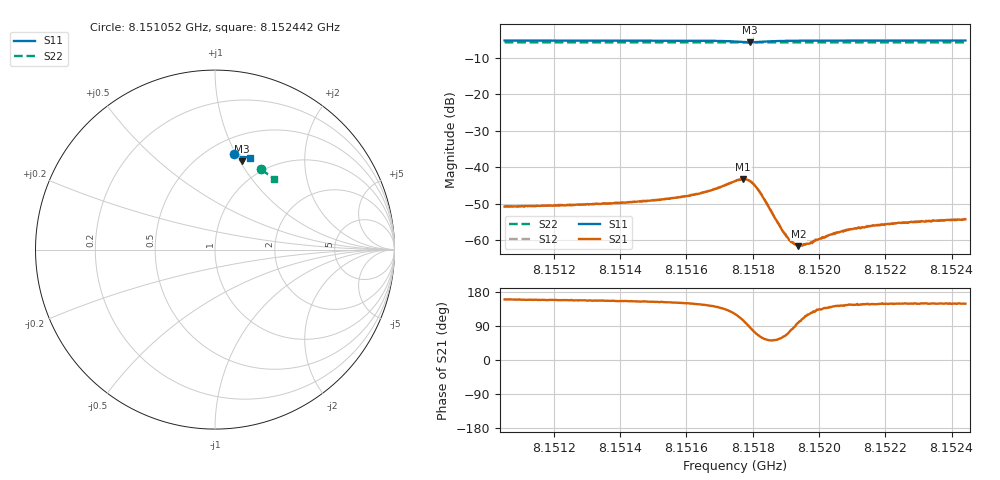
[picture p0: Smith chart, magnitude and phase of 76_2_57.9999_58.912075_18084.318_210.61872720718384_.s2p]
#  HZ  S  RI  R  50.00
! Rohde & Schwarz Vector Network Analyzer
! Rohde-Schwarz,ZNB20-2Port,1311601062101988,3.16
! Created: UTC 3/21/2024, 12:53:42 AM
! freq[Hz]  re:S11  im:S11  re:S21  im:S21  re:S12  im:S12  re:S22  im:S22
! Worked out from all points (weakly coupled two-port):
!   401 points, 8.151052 GHz to 8.152442 GHz, reference 50 ohm
!   highest |S21| = -43.24 dB at 8.151771 GHz (marker M1); lowest = -61.6 dB at 8.151938 GHz (marker M2)
!   lowest |S11| = -5.8 dB at 8.151792 GHz (marker M3), VSWR 3.12, Z = 38 + j50.9 ohm
!   |S11| at or under -10 dB: nowhere
!   |S22| runs from -5.8 to -5.8 dB; largest |S21 - S12| = 0.00014
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8.1510516e9  0.1078 0.5322  -0.00272 0.000999  -0.0027 0.00106  0.255 0.4465
8.1512844e9  0.1247 0.5287  -0.00283 0.00119  -0.00287 0.00121  0.2679 0.4387
8.1514373e9  0.1364 0.5259  -0.00305 0.00142  -0.00302 0.00146  0.2762 0.4332
8.1515172e9  0.1427 0.5238  -0.00318 0.00164  -0.0032 0.00168  0.2806 0.4303
8.1516388e9  0.154 0.5189  -0.00367 0.00239  -0.00364 0.00244  0.2869 0.4258
8.1516944e9  0.16 0.5134  -0.00396 0.00334  -0.00395 0.00345  0.2899 0.4234
8.1517466e9  0.1629 0.5019  -0.00338 0.00554  -0.0033 0.00563  0.2925 0.4212
8.1517709e9  0.1579 0.4943  -0.00173 0.00666  -0.00165 0.00674  0.2933 0.4201
8.1517917e9  0.1486 0.4927  0.000457 0.00645  0.000517 0.00647  0.294 0.4193
8.1518056e9  0.143 0.4961  0.00161 0.00546  0.00169 0.00547  0.2946 0.419
8.1518195e9  0.1403 0.5013  0.00207 0.00422  0.00217 0.00421  0.2954 0.4188
8.151896e9  0.1496 0.5164  0.000572 0.0011  0.000556 0.00111  0.2996 0.4164
8.1519168e9  0.1528 0.5172  0.000154 0.000935  0.000185 0.000924  0.3007 0.4156
8.1519377e9  0.1555 0.5177  -0.000125 0.000823  -9.27e-05 0.000864  0.3019 0.4148
8.1519551e9  0.1577 0.5177  -0.000328 0.000823  -0.000305 0.000829  0.3027 0.4143
8.1519794e9  0.1602 0.5176  -0.000521 0.000752  -0.000559 0.000782  0.304 0.4131
8.1520385e9  0.166 0.517  -0.00093 0.000773  -0.000907 0.000795  0.3071 0.4109
8.1520732e9  0.1691 0.5164  -0.00107 0.000766  -0.00109 0.000814  0.309 0.4096
8.1521566e9  0.1759 0.5148  -0.00133 0.000839  -0.00132 0.00086  0.3131 0.4061
8.1522122e9  0.18 0.5134  -0.00141 0.000874  -0.00142 0.000896  0.316 0.4039
8.1522852e9  0.1854 0.5119  -0.00151 0.000937  -0.00155 0.000948  0.3196 0.4008
8.1524416e9  0.1964 0.5082  -0.00166 0.00102  -0.00167 0.00104  0.3275 0.3943
